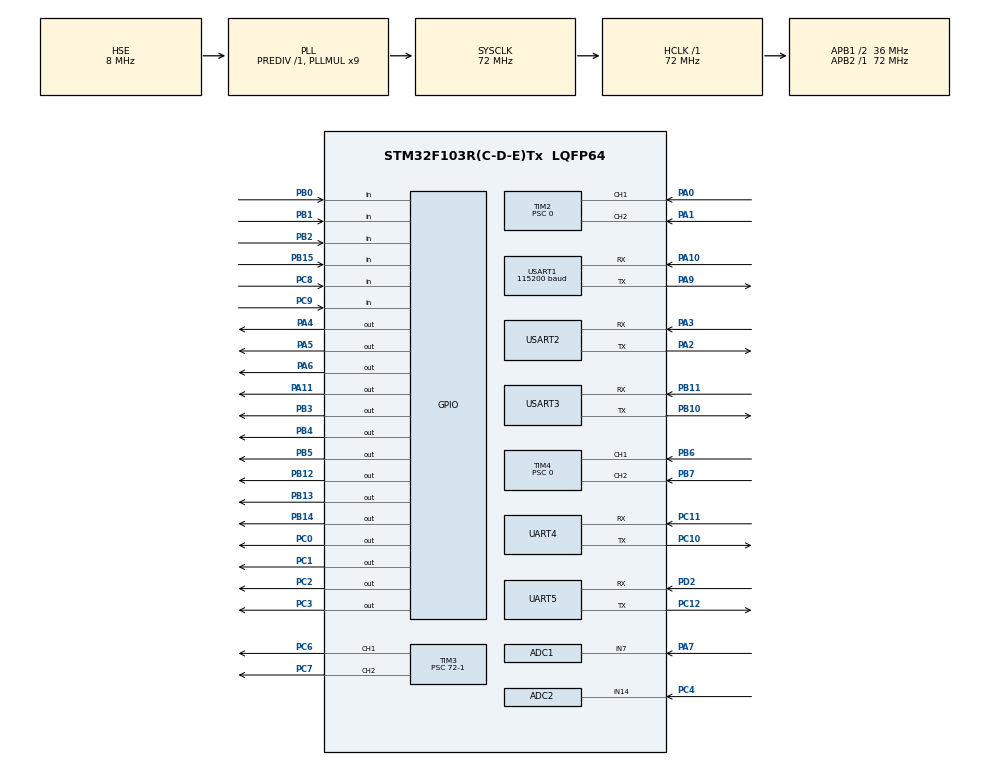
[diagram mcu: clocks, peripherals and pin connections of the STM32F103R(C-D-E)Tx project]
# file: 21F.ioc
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ADC1.Channel-1\#ChannelRegularConversion=ADC_CHANNEL_7
ADC1.NbrOfConversionFlag=1
ADC1.master=1
ADC2.Channel-0\#ChannelRegularConversion=ADC_CHANNEL_14
ADC2.NbrOfConversionFlag=1
ADC2.Rank-0\#ChannelRegularConversion=1
ADC2.SamplingTime-0\#ChannelRegularConversion=ADC_SAMPLETIME_13CYCLES_5
Mcu.Family=STM32F1
Mcu.Name=STM32F103R(C-D-E)Tx
Mcu.Package=LQFP64
NVIC.PriorityGroup=NVIC_PRIORITYGROUP_4
NVIC.TIM5_IRQn=true\:0\:0\:false\:false\:true\:true\:true\:true
NVIC.TIM6_IRQn=true\:0\:0\:false\:false\:true\:true\:true\:true
NVIC.TIM7_IRQn=true\:0\:0\:false\:false\:true\:true\:true\:true
NVIC.UART4_IRQn=true\:0\:0\:false\:false\:true\:true\:true\:true
NVIC.UART5_IRQn=true\:0\:0\:false\:false\:true\:true\:true\:true
NVIC.USART1_IRQn=true\:0\:0\:false\:false\:true\:true\:true\:true
NVIC.USART2_IRQn=true\:0\:0\:false\:false\:true\:true\:true\:true
NVIC.USART3_IRQn=true\:0\:0\:false\:false\:true\:true\:true\:true
PA0-WKUP.Signal=S_TIM2_CH1_ETR
PA1.Signal=S_TIM2_CH2
PA10.Mode=Asynchronous
PA10.Signal=USART1_RX
PA11.PinState=GPIO_PIN_SET
PA11.Signal=GPIO_Output
PA13.Mode=Serial_Wire
PA13.Signal=SYS_JTMS-SWDIO
PA14.Mode=Serial_Wire
PA14.Signal=SYS_JTCK-SWCLK
PA2.Mode=Asynchronous
PA2.Signal=USART2_TX
PA3.Mode=Asynchronous
PA3.Signal=USART2_RX
PA4.Signal=GPIO_Output
PA5.Signal=GPIO_Output
PA6.Signal=GPIO_Output
PA7.Signal=ADCx_IN7
PA9.Mode=Asynchronous
PA9.Signal=USART1_TX
PB0.Signal=GPIO_Input
PB1.Signal=GPIO_Input
PB10.Mode=Asynchronous
PB10.Signal=USART3_TX
PB11.Mode=Asynchronous
PB11.Signal=USART3_RX
PB12.PinState=GPIO_PIN_SET
PB12.Signal=GPIO_Output
PB13.PinState=GPIO_PIN_SET
PB13.Signal=GPIO_Output
PB14.GPIO_PuPd=GPIO_PULLUP
PB14.Signal=GPIO_Output
PB15.Signal=GPIO_Input
PB2.Signal=GPIO_Input
PB3.PinState=GPIO_PIN_SET
PB3.Signal=GPIO_Output
PB4.GPIO_PuPd=GPIO_PULLUP
PB4.Signal=GPIO_Output
PB5.GPIO_PuPd=GPIO_PULLUP
PB5.Signal=GPIO_Output
PB6.Signal=S_TIM4_CH1
PB7.Signal=S_TIM4_CH2
PC0.Signal=GPIO_Output
PC1.Signal=GPIO_Output
PC10.Mode=Asynchronous
PC10.Signal=UART4_TX
PC11.Mode=Asynchronous
PC11.Signal=UART4_RX
PC12.Mode=Asynchronous
PC12.Signal=UART5_TX
PC2.Signal=GPIO_Output
PC3.Signal=GPIO_Output
PC4.Signal=ADCx_IN14
PC6.Signal=S_TIM3_CH1
PC7.Signal=S_TIM3_CH2
PC8.GPIO_PuPd=GPIO_PULLUP
PC8.Signal=GPIO_Input
PC9.GPIO_PuPd=GPIO_PULLUP
PC9.Signal=GPIO_Input
PD0-OSC_IN.Mode=HSE-External-Oscillator
PD0-OSC_IN.Signal=RCC_OSC_IN
PD1-OSC_OUT.Mode=HSE-External-Oscillator
PD1-OSC_OUT.Signal=RCC_OSC_OUT
PD2.Mode=Asynchronous
PD2.Signal=UART5_RX
ProjectManager.HeapSize=0x200
ProjectManager.StackSize=0x400
ProjectManager.TargetToolchain=MDK-ARM V5.32
RCC.ADCPresc=RCC_ADCPCLK2_DIV6
RCC.AHBFreq_Value=72000000
RCC.APB1CLKDivider=RCC_HCLK_DIV2
RCC.APB1Freq_Value=36000000
RCC.APB1TimFreq_Value=72000000
RCC.APB2Freq_Value=72000000
RCC.APB2TimFreq_Value=72000000
RCC.HCLKFreq_Value=72000000
RCC.PLLMUL=RCC_PLL_MUL9
RCC.PLLSourceVirtual=RCC_PLLSOURCE_HSE
RCC.SYSCLKFreq_VALUE=72000000
RCC.SYSCLKSource=RCC_SYSCLKSOURCE_PLLCLK
RCC.USBFreq_Value=72000000
SH.ADCx_IN14.0=ADC2_IN14,IN14
SH.ADCx_IN7.0=ADC1_IN7,IN7
SH.S_TIM2_CH1_ETR.0=TIM2_CH1,Encoder_Interface
SH.S_TIM2_CH2.0=TIM2_CH2,Encoder_Interface
SH.S_TIM3_CH1.0=TIM3_CH1,PWM Generation1 CH1
SH.S_TIM3_CH2.0=TIM3_CH2,PWM Generation2 CH2
SH.S_TIM4_CH1.0=TIM4_CH1,Encoder_Interface
SH.S_TIM4_CH2.0=TIM4_CH2,Encoder_Interface
TIM2.EncoderMode=TIM_ENCODERMODE_TI12
TIM2.Prescaler=0
TIM3.Channel-PWM\ Generation1\ CH1=TIM_CHANNEL_1
TIM3.Channel-PWM\ Generation2\ CH2=TIM_CHANNEL_2
TIM3.Period=100-1
TIM3.Prescaler=72-1
TIM4.EncoderMode=TIM_ENCODERMODE_TI12
TIM4.Prescaler=0
TIM5.Period=500-1
TIM5.Prescaler=7200-1
TIM6.Period=100-1
TIM6.Prescaler=800-1
TIM7.Period=1000-1
TIM7.Prescaler=800-1
UART4.VirtualMode=Asynchronous
UART5.VirtualMode=Asynchronous
USART1.BaudRate=115200
USART1.VirtualMode=VM_ASYNC
USART2.VirtualMode=VM_ASYNC
USART3.VirtualMode=VM_ASYNC
VP_TIM3_VS_ClockSourceINT.Mode=Internal
VP_TIM5_VS_ClockSourceINT.Mode=Internal
VP_TIM6_VS_ClockSourceINT.Mode=Enable_Timer
VP_TIM7_VS_ClockSourceINT.Mode=Enable_Timer
board=custom

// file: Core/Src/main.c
/* USER CODE BEGIN Header */
/**
  ******************************************************************************
  * @file           : main.c
  * @brief          : Main program body
  ******************************************************************************
  * @attention
  *
  * Copyright (c) 2026 STMicroelectronics.
  * All rights reserved.
  *
  * This software is licensed under terms that can be found in the LICENSE file
  * in the root directory of this software component.
  * If no LICENSE file comes with this software, it is provided AS-IS.
  *
  ******************************************************************************
  */
/* USER CODE END Header */
#include "main.h"
#include "adc.h"
#include "tim.h"
#include "usart.h"
#include "gpio.h"

/* USER CODE BEGIN Includes */
#include "headfile.h"

/* USER CODE END Includes */

/* USER CODE BEGIN PM */
uint8_t g_oledstring[20];
uint8_t g_usart4_receivedata;

uint8_t pc0_mode;
uint8_t pc1_mode;
uint8_t pc2_mode;
uint8_t pc3_mode;

float battery_voltage;

uint8_t Car_Mode = Run_Mode; // 运行模式，默认为正常模式

/* USER CODE END PM */

void SystemClock_Config(void);

int main(void)
{

  /* MCU Configuration--------------------------------------------------------*/

  /* Reset of all peripherals, Initializes the Flash interface and the Systick. */
  HAL_Init();

  /* Configure the system clock */
  SystemClock_Config();

  /* USER CODE BEGIN SysInit */
	delay_init(72);
  /* USER CODE END SysInit */

  /* Initialize all configured peripherals */
  MX_GPIO_Init();
  MX_TIM2_Init();
  MX_TIM3_Init();
  MX_TIM4_Init();
  MX_USART1_UART_Init();
  MX_UART4_Init();
  MX_UART5_Init();
  MX_USART2_UART_Init();
  MX_USART3_UART_Init();
  MX_TIM6_Init();
  MX_ADC2_Init();
  MX_TIM7_Init();
  MX_ADC1_Init();
  MX_TIM5_Init();
  /* USER CODE BEGIN 2 */
	delay_ms(100);    //延时一下，让OLED正常输出
	OLED_Init();
	delay_ms(100);    //延时一下，让OLED正常输出
  OLED_Clear(); //因为是直接进来的，所以清除一下比较好

  HAL_TIM_Encoder_Start(&htim2, TIM_CHANNEL_ALL);   //开启TIM2的编码器接口模式 ENA
  HAL_TIM_Encoder_Start(&htim4, TIM_CHANNEL_ALL);   //开启TIM4的编码器接口模式 ENB
  HAL_TIM_Base_Start_IT(&htim5);
  HAL_UART_Receive_IT(&huart1, &UART1_RxByte, 1);
  maixcam_Init(&huart3);
  HAL_UART_Receive_IT(&huart4, &g_usart4_receivedata, 1); // 串口4接收数据中断

  HAL_TIM_Base_Start_IT(&htim6);
  HAL_TIM_Base_Start_IT(&htim7);
  Motor_Init();
  Encoder_Init();
  ZigbeeGrey_Init();
  JY61p_HardwareZeroYaw();
  PID_param_init();

  protocol_init(); // 初始化协议栈
  /* USER CODE END 2 */

  /* Infinite loop */
  /* USER CODE BEGIN WHILE */
  while (1)
  {
    key_scan(); // 如果 key_scan 里面还会控制 car_go，后面要注意
    ZigbeeGrey_Task_WithTick();
    Protocol_Datas_Proc();

    sprintf((char *)g_oledstring, "Car_Mode:%d", Car_Mode);
    OLED_ShowString(0, 0, g_oledstring, 12);

    sprintf((char *)g_oledstring, "distance:%4.2f", Encoder_GetDistanceMm());
    OLED_ShowString(0, 1, g_oledstring, 12);

    sprintf((char *)g_oledstring, "state:%d", drug_state);
    OLED_ShowString(0, 2, g_oledstring, 12);

    sprintf((char *)g_oledstring, "car_go:%d", car_go);
    OLED_ShowString(0, 3, g_oledstring, 12);

    sprintf((char *)g_oledstring, "white:%4d", ZigbeeGrey_White[0]);
    OLED_ShowString(0, 4, g_oledstring, 12);

    sprintf((char *)g_oledstring, "black:%4d", ZigbeeGrey_Black[0]);
    OLED_ShowString(0, 5, g_oledstring, 12);

    sprintf((char *)g_oledstring, "yaw:%f", Yaw);
    OLED_ShowString(0, 6, g_oledstring, 12);

    // /*
    //  * 1. 发车前：识别目标数字
    //  */
    if (car_go == 0 && target_number == 0)
    {
      maix_state = 0; // 发送 0x01，识别目标数字
    }

    /*
     * 2. 已经识别到目标数字，但还没发车
     * 现在这里不是“等待按键发车”，而是等待放药发车
     */
    else if (car_go == 0 && target_number != 0)
    {
      maix_state = 2; // 空闲，等待 drug_scan 判断放药/取药
    }

    /*
     * 药品状态机
     * 负责：
     * 起点放药 -> car_go = 1
     * 病房取药 -> car_go = 1 并跳到倒车状态
     */
    drug_scan();

    /*
     * 3. 发车后，根据目标数字执行路线
     */
    if (car_go == 1)
    {
      if (target_number == 1)
      {
        maix_state = 2;
        task_1();
      }
      else if (target_number == 2)
      {
        maix_state = 2;
        task_2();
      }
      else if (target_number >= 3 && target_number <= 8)
      {
        task_search_middle_then_far();
      }
      else
      {
        maix_state = 2;

        Location_flag = 0;
        Angle_flag = 0;
        Gray_flag = 0;

        Motor_SetSpeed(MOTOR_LEFT, 0);
        Motor_SetSpeed(MOTOR_RIGHT, 0);
      }
    }

    MaixCAM_Proc();

    /* USER CODE END WHILE */

  }
}

void SystemClock_Config(void)
{
  RCC_OscInitTypeDef RCC_OscInitStruct = {0};
  RCC_ClkInitTypeDef RCC_ClkInitStruct = {0};
  RCC_PeriphCLKInitTypeDef PeriphClkInit = {0};

  /** Initializes the RCC Oscillators according to the specified parameters
  * in the RCC_OscInitTypeDef structure.
  */
  RCC_OscInitStruct.OscillatorType = RCC_OSCILLATORTYPE_HSE;
  RCC_OscInitStruct.HSEState = RCC_HSE_ON;
  RCC_OscInitStruct.HSEPredivValue = RCC_HSE_PREDIV_DIV1;
  RCC_OscInitStruct.HSIState = RCC_HSI_ON;
  RCC_OscInitStruct.PLL.PLLState = RCC_PLL_ON;
  RCC_OscInitStruct.PLL.PLLSource = RCC_PLLSOURCE_HSE;
  RCC_OscInitStruct.PLL.PLLMUL = RCC_PLL_MUL9;
  if (HAL_RCC_OscConfig(&RCC_OscInitStruct) != HAL_OK)
  {
    Error_Handler();
  }

  /** Initializes the CPU, AHB and APB buses clocks
  */
  RCC_ClkInitStruct.ClockType = RCC_CLOCKTYPE_HCLK|RCC_CLOCKTYPE_SYSCLK
                              |RCC_CLOCKTYPE_PCLK1|RCC_CLOCKTYPE_PCLK2;
  RCC_ClkInitStruct.SYSCLKSource = RCC_SYSCLKSOURCE_PLLCLK;
  RCC_ClkInitStruct.AHBCLKDivider = RCC_SYSCLK_DIV1;
  RCC_ClkInitStruct.APB1CLKDivider = RCC_HCLK_DIV2;
  RCC_ClkInitStruct.APB2CLKDivider = RCC_HCLK_DIV1;

  if (HAL_RCC_ClockConfig(&RCC_ClkInitStruct, FLASH_LATENCY_2) != HAL_OK)
  {
    Error_Handler();
  }
  PeriphClkInit.PeriphClockSelection = RCC_PERIPHCLK_ADC;
  PeriphClkInit.AdcClockSelection = RCC_ADCPCLK2_DIV6;
  if (HAL_RCCEx_PeriphCLKConfig(&PeriphClkInit) != HAL_OK)
  {
    Error_Handler();
  }
}

/* USER CODE BEGIN 4 */

void HAL_UART_RxCpltCallback(UART_HandleTypeDef *huart)
{
  if (huart->Instance == USART1)
  {
    // 1. 调用野火协议解析函数，传入刚才接收到的1个字节
    // 该函数内部会在解析到完整一帧后，把 receive_cmd 置为 1
    protocol_data_recv(&UART1_RxByte, 1);

    // // 2. 再次开启中断接收下一个字节
    HAL_UART_Receive_IT(&huart1, &UART1_RxByte, 1);
  }
  if(huart->Instance == USART3) // 判断中断源
  {
    maixcam_RxCpltCallback(huart);
    // maixcam_DecToBin(maixcam_data_buff[2], trace_value); // 将接收到的十进制数转换为二进制数组
  }

  if (huart->Instance == UART4) // 判断中断源
  {
    jy61p_ReceiveData(g_usart4_receivedata);                // 调用数据包处理函数
    HAL_UART_Receive_IT(&huart4, &g_usart4_receivedata, 1); // 继续进行中断接收
  }
}

/* 错误回调函数，处理溢出、帧错误等情况 */
void HAL_UART_ErrorCallback(UART_HandleTypeDef *huart)
{
  if (huart->Instance == USART1)
  {
    // 如果出错（比如上位机发太快导致 ORE 溢出），不要锁死，重新开启接收即可
    HAL_UART_Receive_IT(&huart1, &UART1_RxByte, 1);
  }
  else if (huart->Instance == UART4)
  {
    __HAL_UART_CLEAR_OREFLAG(huart);
    HAL_UART_Receive_IT(&huart4, &g_usart4_receivedata, 1);
  }
}

/* USER CODE END 4 */

void Error_Handler(void)
{
  __disable_irq();
  while (1)
  {
  }
}
